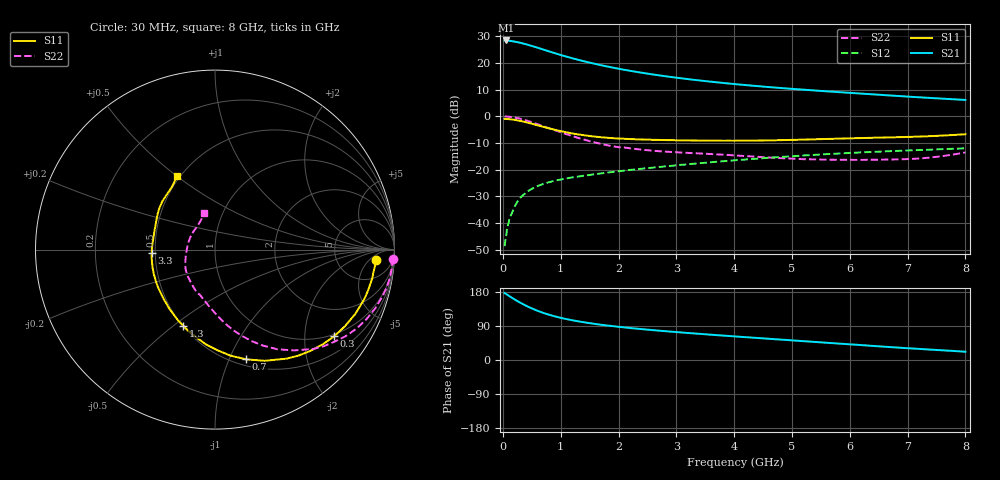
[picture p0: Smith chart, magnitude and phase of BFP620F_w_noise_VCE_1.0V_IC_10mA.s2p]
! Infineon Technologies  Discrete & RF Semiconductors
! BFP620F
! VCE =  1.0 V,  IC =  10 mA
! Common Emitter S-Parameters:  Dec 2014
# GHz  S  MA  R  50
!  f  S11  S21  S12  S22
! GHz  MAG  ANG  MAG  ANG  MAG  ANG  MAG  ANG
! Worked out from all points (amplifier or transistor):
!   95 points, 30 MHz to 8 GHz, reference 50 ohm
!   highest |S21| = 28.4 dB at 50 MHz (marker M1)
!   |S21| within 3 dB of that: start of sweep to 640.7 MHz
!   unconditionally stable (mu >= 1): 4.012 GHz to end of sweep
!   at 300 MHz: K = 0.16, MSG = 29.1 dB, |S12| = -30.5 dB
!   at 3.3 GHz: K = 0.96, MSG = 15.7 dB, |S12| = -17.7 dB
!   at 8 GHz: K = 1.09, MAG = 7.3 dB, |S12| = -12.0 dB
!   lowest NFmin = 0.60 dB at 450 MHz
!   S11 on the Smith chart (normalised r, x): 30 MHz: 14, -8; 300 MHz: 0.94, -2.79; 700 MHz: 0.56, -1.16; 1.3 GHz: 0.50, -0.54; 3.3 GHz: 0.48, -0.02; 8 GHz: 0.48, +0.50
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0.03  0.8972 -3.6  26.37 176.7  0.0037 85.7  0.9922 -2.9
0.05  0.895 -6.4  26.43 174.7  0.0053 73.2  0.9905 -5.1
0.08  0.8915 -10.0  26.34 171.7  0.0081 89.1  0.9886 -8.1
0.15  0.8754 -18.6  25.75 164.8  0.0148 81.5  0.9702 -15.2
0.25  0.8409 -30.4  24.59 155.5  0.025 74.6  0.9281 -24.8
0.3  0.8213 -36.0  23.95 151.3  0.0297 71.8  0.9017 -29.4
0.4  0.7745 -46.9  22.47 143.2  0.037 67.1  0.839 -37.8
0.5  0.7275 -56.6  20.85 136.2  0.0438 63.0  0.7777 -45.4
0.6  0.6788 -65.9  19.32 129.8  0.0495 60.2  0.7127 -52.0
0.7  0.6354 -74.2  17.86 124.2  0.0545 56.9  0.6541 -58.1
0.8  0.5964 -81.8  16.47 119.4  0.0585 55.0  0.5983 -63.4
1  0.5299 -95.6  14.14 111.3  0.0656 52.0  0.5042 -72.6
1.3  0.4589 -112.8  11.48 102.1  0.0745 49.4  0.3954 -84.5
1.4  0.444 -117.9  10.78 99.6  0.0773 49.0  0.3684 -88.0
1.7  0.4057 -131.6  9.068 93.0  0.0854 48.1  0.3032 -98.6
2  0.3841 -143.2  7.811 87.6  0.0937 47.5  0.2646 -108.9
2.7  0.3622 -163.8  5.872 77.4  0.1126 45.7  0.2225 -128.7
3.3  0.3534 -176.9  4.843 70.2  0.1297 44.0  0.2042 -140.7
4.1  0.3497 168.3  3.943 61.3  0.1527 41.0  0.1829 -154.6
5.4  0.3722 149.9  3.05 47.6  0.1904 34.2  0.1562 177.0
6.7  0.4039 133.4  2.461 34.1  0.2229 25.8  0.1554 144.2
8  0.463 117.5  2.031 21.9  0.2517 17.5  0.2108 106.2
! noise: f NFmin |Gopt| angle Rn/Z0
0.45  0.6  0.26  8  0.22
0.9  0.67  0.25  19  0.19
1.5  0.73  0.24  21  0.15
1.8  0.75  0.22  24  0.13
1.9  0.76  0.18  38  0.15
2.4  0.81  0.15  54  0.13
3.5  0.91  0.14  75  0.12
5.5  1.08  0.11  178  0.1
6  1.12  0.1  207  0.16
